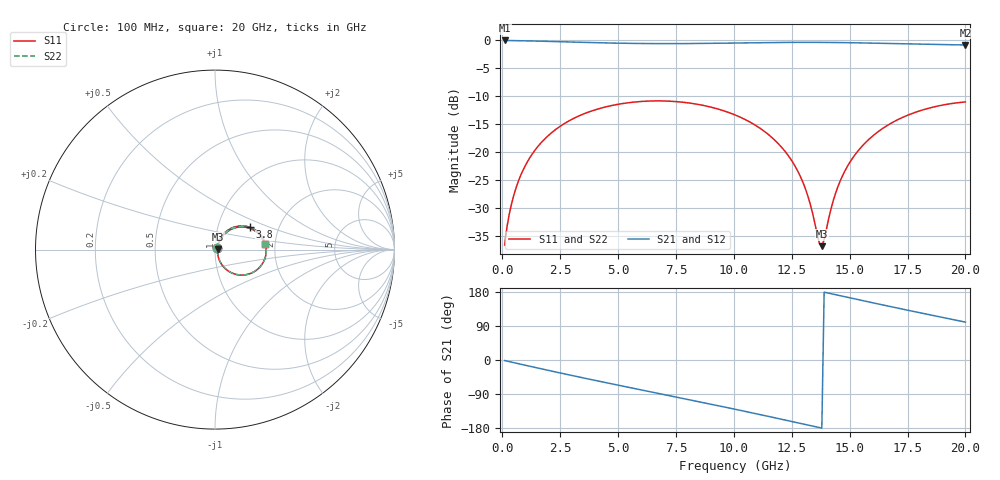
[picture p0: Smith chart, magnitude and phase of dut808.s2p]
! Touchstone file exported from HFSS 2026.1.0
!  File:  C:/ffzhzh/LocalFiles/Ansys_Project_Files/temp_train_TSV_RDL_808_1783263777_38820.aedt
!  Generated:  11:14:08 PM Jul  5, 2026
!  Design:  TSV_RDL
!  Project:  temp_train_TSV_RDL_808_1783263777_38820
! Variables:
!  h_bsmrdl = 5.1um
!  h_ox = 20um
!  h_rdl = 5um
!  h_sub = 90.79um
!  h_tmrdl = 5.62um
!  h_tsv = 90.79um
!  h_via = 3um
!  l_bsmrdl = 869.05um
!  l_sub = 4346.9um
!  l_tmrdl = 293.68um
!  m_sub = 200um
!  pitch = 41.49um
!  r_tsv = 8.73um
!  s_tmrdl = 10um
!  w_bsmrdl = 26.87um
!  w_sub = 500um
!  w_tmrdl = 28.14um
!  x_tsv_center1 = 307.75um
!  x_tsv_center2 = 1203.67um
!  x_tsv_center3 = 1525.49um
!  x_tsv_center4 = 2421.41um
!  x_tsv_center5 = 2743.23um
!  x_tsv_center6 = 3639.15um
# GHz S MA R 50.000000
! Terminal data exported
! Port[1] = TM_RDL1_1_T1
! Port[2] = TM_RDL5_1_T1
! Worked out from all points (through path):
!   200 points, 100 MHz to 20 GHz, reference 50 ohm
!   highest |S21| = -0.10 dB at 100 MHz (marker M1); lowest = -0.9 dB at 20 GHz (marker M2)
!   group delay of S21, straight-line fit = 36 ps
!   lowest |S11| = -36.8 dB at 13.8 GHz (marker M3), VSWR 1.03, Z = 51.5 + j0.085 ohm
!   |S11| at or under -10 dB: start of sweep to end of sweep
!   |S22| runs from -36.7 to -10.9 dB; largest |S21 - S12| = 1.9e-14
!   S11 on the Smith chart (normalised r, x): 100 MHz: 1.02, +0.02; 3.8 GHz: 1.42, +0.37; 20 GHz: 1.76, +0.13
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0.1  0.01481 36.5  0.9883 -1.5  0.9883 -1.5  0.01481 36.5
! Gamma 0 0 0 0
! Port Impedance 50 0 50 0
0.3  0.02786 56.3  0.9861 -4.3  0.9861 -4.3  0.02786 56.3
0.5  0.04139 62.3  0.9847 -7.1  0.9847 -7.1  0.04139 62.3
1.1  0.08295 63.0  0.9799 -15.3  0.9799 -15.3  0.08295 63.0
2.1  0.147 53.2  0.9686 -28.9  0.9686 -28.9  0.147 53.2
3.5  0.2181 36.4  0.9504 -47.3  0.9504 -47.3  0.2181 36.4
3.8  0.2301 32.8  0.9468 -51.2  0.9468 -51.2  0.2301 32.8
5.3  0.2726 14.8  0.9323 -70.1  0.9323 -70.1  0.2726 14.8
6.8  0.2856 -3.0  0.9261 -88.8  0.9261 -88.8  0.2856 -3.0
8.5  0.2649 -23.0  0.9292 -110.1  0.9292 -110.1  0.2649 -23.0
10.1  0.2121 -41.9  0.9384 -130.5  0.9384 -130.5  0.2122 -41.9
12.2  0.102 -64.4  0.9497 -158.2  0.9497 -158.2  0.1021 -64.3
12.9  0.05883 -67.4  0.951 -167.6  0.951 -167.6  0.05887 -67.3
13.4  0.02848 -57.8  0.9508 -174.3  0.9508 -174.3  0.02855 -57.5
13.7  0.01519 -20.8  0.9502 -178.4  0.9502 -178.4  0.01534 -20.6
13.8  0.01447 3.3  0.95 -179.7  0.95 -179.7  0.01463 3.2
14.4  0.04329 59.5  0.9475 172.2  0.9475 172.2  0.04335 59.3
14.9  0.07419 61.3  0.9445 165.5  0.9445 165.5  0.07423 61.2
15.7  0.1222 55.4  0.938 154.9  0.938 154.9  0.1223 55.4
16.7  0.1761 44.9  0.9283 141.8  0.9283 141.8  0.1762 44.8
18.4  0.2454 25.3  0.9117 120.0  0.9117 120.0  0.2454 25.3
20  0.2796 6.8  0.9013 100.0  0.9013 100.0  0.2797 6.8
